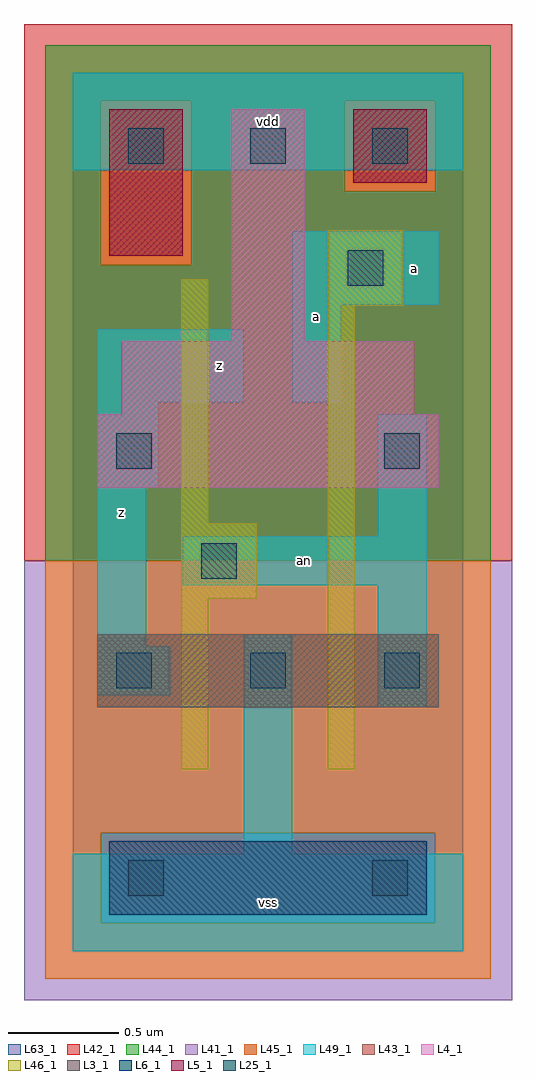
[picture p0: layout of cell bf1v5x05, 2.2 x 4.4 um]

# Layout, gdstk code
import gdstk
lib = gdstk.Library(unit=1e-6, precision=1e-09)
def R(c, l, rs):  # rectangles x0, y0, x1, y1
    for r in rs: c.add(gdstk.rectangle(r[:2], r[2:], *l))
def A(c, l, x, y, w, h, nx, ny, dx, dy):  # array of equal rectangles
    R(c, l, [(x+i*dx, y+j*dy, x+i*dx+w, y+j*dy+h) for i in range(nx) for j in range(ny)])
L3_1 = (3, 1)
L4_1 = (4, 1)
L5_1 = (5, 1)
L6_1 = (6, 1)
L25_1 = (25, 1)
L41_1 = (41, 1)
L42_1 = (42, 1)
L43_1 = (43, 1)
L44_1 = (44, 1)
L45_1 = (45, 1)
L46_1 = (46, 1)
L49_1 = (49, 1)
L63_1 = (63, 1)

bf1v5x05 = lib.new_cell('bf1v5x05')
R(bf1v5x05, L3_1, [(0.11,1.1,1.65,1.43)])
R(bf1v5x05, L4_1, [(0.11,2.09,1.65,2.42), (0.22,2.42,1.54,2.75), (0.715,2.75,1.045,3.795)])
R(bf1v5x05, L5_1, [(0.165,3.135,0.495,3.795), (1.265,3.465,1.595,3.795)])
R(bf1v5x05, L6_1, [(0.165,0.165,1.595,0.495)])
A(bf1v5x05, L25_1, 0.195, 1.185, 0.16, 0.16, 3, 1, 0.605, 0)
A(bf1v5x05, L25_1, 0.25, 3.55, 0.16, 0.16, 3, 1, 0.55, 0)
R(bf1v5x05, L25_1, [(0.25,0.25,0.41,0.41), (1.35,0.25,1.51,0.41), (0.58,1.68,0.74,1.84), (0.195,2.175,0.355,2.335), (1.405,2.175,1.565,2.335), (1.24,3,1.4,3.16)])
R(bf1v5x05, L41_1, [(-0.22,-0.22,1.98,1.76)])
R(bf1v5x05, L42_1, [(-0.22,1.76,1.98,4.18)])
R(bf1v5x05, L43_1, [(0.165,0.165,1.595,0.495), (0.11,1.1,1.65,1.43), (0.11,2.09,1.65,2.42), (0.22,2.42,1.54,2.75), (0.715,2.75,1.045,3.795), (0.165,3.135,0.495,3.795), (1.265,3.465,1.595,3.795)])
R(bf1v5x05, L44_1, [(0.125,0.125,1.635,0.535), (-0.125,1.76,1.885,3.095), (-0.125,3.095,0.125,3.835), (0.535,3.095,1.885,3.425), (0.535,3.425,1.225,3.835), (1.635,3.425,1.885,3.835), (-0.125,3.835,1.885,4.085)])
R(bf1v5x05, L45_1, [(-0.125,-0.125,1.885,0.125), (-0.125,0.125,0.125,0.535), (1.635,0.125,1.885,0.535), (-0.125,0.535,1.885,1.76), (0.125,3.095,0.535,3.835), (1.225,3.425,1.635,3.835)])
R(bf1v5x05, L46_1, [(0.49,0.82,0.61,1.59), (1.15,0.82,1.27,2.91), (0.49,1.59,0.83,1.93), (0.49,1.93,0.61,3.03), (1.15,2.91,1.49,3.25)])
R(bf1v5x05, L49_1, [(0,0,1.76,0.44), (0.77,0.44,0.99,1.43), (1.375,1.1,1.595,1.65), (0.11,1.155,0.44,1.375), (0.11,1.375,0.33,2.09), (0.495,1.65,1.595,1.87), (1.375,1.87,1.595,2.42), (0.11,2.09,0.385,2.475), (0.11,2.475,0.77,2.805), (0.99,2.475,1.21,2.915), (0.99,2.915,1.65,3.245), (0,3.52,1.76,3.96)])
R(bf1v5x05, L63_1, [(0,0,1.76,3.96)])
bf1v5x05.add(gdstk.Label('z', (0.22,1.98), layer=49, texttype=1))
bf1v5x05.add(gdstk.Label('z', (0.66,2.64), layer=49, texttype=1))
bf1v5x05.add(gdstk.Label('vss', (0.88,0.22), layer=49, texttype=1))
bf1v5x05.add(gdstk.Label('a', (1.1,2.86), layer=49, texttype=1))
bf1v5x05.add(gdstk.Label('vdd', (0.88,3.74), layer=49, texttype=1))
bf1v5x05.add(gdstk.Label('an', (1.045,1.76), layer=49, texttype=1))
bf1v5x05.add(gdstk.Label('a', (1.54,3.08), layer=49, texttype=1))

lib.write_gds('bf1v5x05.gds')
